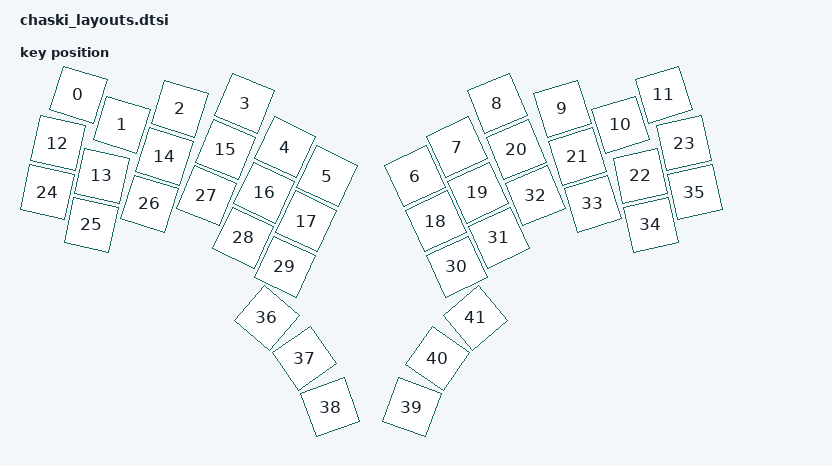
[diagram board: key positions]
#include <physical_layouts.dtsi>

/ {
    physical_layout_chaski: physical_layout_chaski {
        compatible = "zmk,physical-layout";
        display-name = "Patagona chaski";

        transform = <&chaski_transform>;

        keys  //                     w   h    x    y     rot    rx    ry
            = <&key_physical_attrs 100 100   72   13    1750   122    63>
            , <&key_physical_attrs 100 100  159   73    1750   209   123>
            , <&key_physical_attrs 100 100  275   41    1750   325    91>
            , <&key_physical_attrs 100 100  405   30    2250   455    80>
            , <&key_physical_attrs 100 100  486  118    2500   536   168>
            , <&key_physical_attrs 100 100  570  176    2500   620   226>
            , <&key_physical_attrs 100 100  745  176 (-2500)   795   226>
            , <&key_physical_attrs 100 100  829  118 (-2500)   879   168>
            , <&key_physical_attrs 100 100  910   30 (-2250)   960    80>
            , <&key_physical_attrs 100 100 1040   41 (-1750)  1090    91>
            , <&key_physical_attrs 100 100 1156   73 (-1750)  1206   123>
            , <&key_physical_attrs 100 100 1243   13 (-1750)  1293    63>
            , <&key_physical_attrs 100 100   31  110    1250    81   160>
            , <&key_physical_attrs 100 100  119  175    1250   169   225>
            , <&key_physical_attrs 100 100  244  136    1750   294   186>
            , <&key_physical_attrs 100 100  367  123    2250   417   173>
            , <&key_physical_attrs 100 100  444  209    2500   494   259>
            , <&key_physical_attrs 100 100  528  266    2500   578   316>
            , <&key_physical_attrs 100 100  787  266 (-2500)   837   316>
            , <&key_physical_attrs 100 100  871  209 (-2500)   921   259>
            , <&key_physical_attrs 100 100  948  123 (-2250)   998   173>
            , <&key_physical_attrs 100 100 1070  136 (-1750)  1120   186>
            , <&key_physical_attrs 100 100 1196  175 (-1250)  1246   225>
            , <&key_physical_attrs 100 100 1284  110 (-1250)  1334   160>
            , <&key_physical_attrs 100 100   10  208    1250    60   258>
            , <&key_physical_attrs 100 100   98  273    1250   148   323>
            , <&key_physical_attrs 100 100  214  231    1750   264   281>
            , <&key_physical_attrs 100 100  329  215    2250   379   265>
            , <&key_physical_attrs 100 100  402  299    2500   452   349>
            , <&key_physical_attrs 100 100  485  357    2500   535   407>
            , <&key_physical_attrs 100 100  829  357 (-2500)   879   407>
            , <&key_physical_attrs 100 100  913  299 (-2500)   963   349>
            , <&key_physical_attrs 100 100  986  215 (-2250)  1036   265>
            , <&key_physical_attrs 100 100 1101  231 (-1750)  1151   281>
            , <&key_physical_attrs 100 100 1217  273 (-1250)  1267   323>
            , <&key_physical_attrs 100 100 1305  208 (-1250)  1355   258>
            , <&key_physical_attrs 100 100  449  459    4000   499   509>
            , <&key_physical_attrs 100 100  524  540 (-3500)   574   590>
            , <&key_physical_attrs 100 100  576  638 (-2000)   626   688>
            , <&key_physical_attrs 100 100  739  638    2000   789   688>
            , <&key_physical_attrs 100 100  791  540    3500   840   590>
            , <&key_physical_attrs 100 100  866  459 (-4000)   916   509>
            ;
    };

    chaski_position_map {
        compatible = "zmk,physical-layout-position-map";
        complete;
        defualt_position_42: position_42 {
            physical-layout = <&chaski_layout>;
            positions = < 0  1  2  3  4  5              6  7  8  9 10 11>
                      , <12 13 14 15 16 17             18 19 20 21 22 23>
                      , <24 25 26 27 28 29             30 31 32 33 34 35>
                      ,                <36 37 38 39 40 41>;
        };
    };
};

// vim: expandtab softtabstop=4 shiftwidth=4
